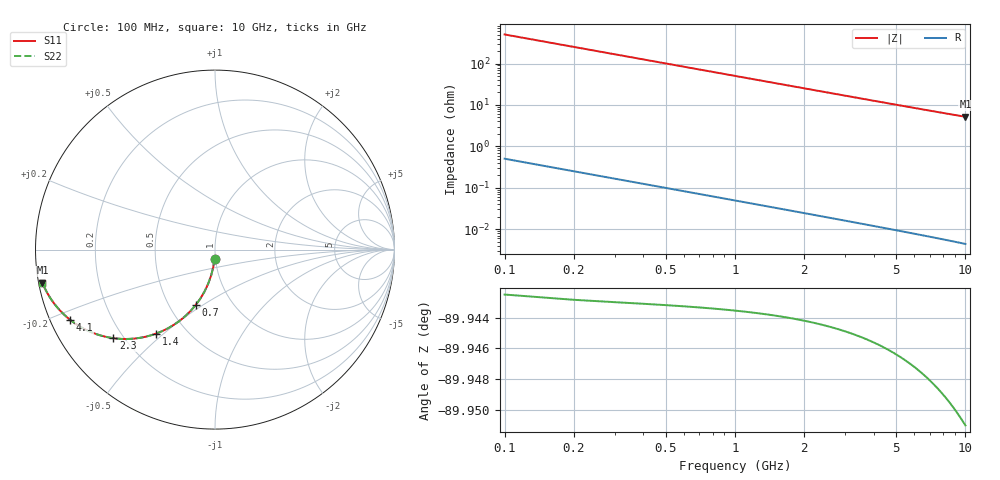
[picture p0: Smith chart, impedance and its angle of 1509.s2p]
# Hz S RI R 50.00
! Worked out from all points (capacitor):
!   100 points, 100 MHz to 10 GHz, reference 50 ohm
!   read as one part in shunt: C = 3.17 pF near 100 MHz
!   lowest |Z| = 5.18 ohm at 10 GHz (marker M1)
!   S11 on the Smith chart (normalised r, x): 100 MHz: 0.99, -0.10; 700 MHz: 0.67, -0.47; 1.4 GHz: 0.34, -0.47; 2.3 GHz: 0.16, -0.37; 4.1 GHz: 0.06, -0.23; 10 GHz: 0.01, -0.10
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1e8  -0.00249 -0.0496  0.9974 -0.0497  0.9974 -0.0497  -0.00249 -0.0496
2e8  -0.00989 -0.0985  0.99 -0.0988  0.99 -0.0988  -0.00989 -0.0985
3e8  -0.0219 -0.1459  0.978 -0.1463  0.978 -0.1463  -0.0219 -0.1459
4e8  -0.0383 -0.1913  0.9616 -0.1918  0.9616 -0.1918  -0.0383 -0.1913
5e8  -0.0586 -0.234  0.9414 -0.2347  0.9414 -0.2347  -0.0586 -0.234
6e8  -0.0822 -0.2738  0.9178 -0.2746  0.9178 -0.2746  -0.0822 -0.2738
7e8  -0.1086 -0.3102  0.8914 -0.3111  0.8914 -0.3111  -0.1086 -0.3102
8e8  -0.1372 -0.343  0.8627 -0.3441  0.8627 -0.3441  -0.1372 -0.343
1e9  -0.1989 -0.398  0.801 -0.3994  0.801 -0.3994  -0.1989 -0.398
1.2e9  -0.2633 -0.4391  0.7367 -0.4408  0.7367 -0.4408  -0.2633 -0.4391
1.4e9  -0.3271 -0.4677  0.6728 -0.4696  0.6728 -0.4696  -0.3271 -0.4677
1.6e9  -0.3883 -0.4858  0.6116 -0.488  0.6116 -0.488  -0.3883 -0.4858
1.8e9  -0.4454 -0.4953  0.5545 -0.4978  0.5545 -0.4978  -0.4454 -0.4953
2.3e9  -0.5671 -0.4934  0.4328 -0.4966  0.4328 -0.4966  -0.5671 -0.4934
2.8e9  -0.6599 -0.4713  0.34 -0.4752  0.34 -0.4752  -0.6599 -0.4713
3.4e9  -0.7409 -0.4353  0.259 -0.44  0.259 -0.44  -0.7409 -0.4353
4.1e9  -0.806 -0.392  0.1939 -0.3977  0.1939 -0.3977  -0.806 -0.392
5.1e9  -0.8653 -0.3372  0.1346 -0.3444  0.1346 -0.3444  -0.8653 -0.3372
5.8e9  -0.8926 -0.305  0.1073 -0.3131  0.1073 -0.3131  -0.8926 -0.305
6.7e9  -0.9173 -0.2701  0.0826 -0.2795  0.0826 -0.2795  -0.9173 -0.2701
8.4e9  -0.9458 -0.2198  0.054 -0.2316  0.054 -0.2316  -0.9458 -0.2198
1e10  -0.9612 -0.1851  0.0386 -0.1994  0.0386 -0.1994  -0.9612 -0.1851
